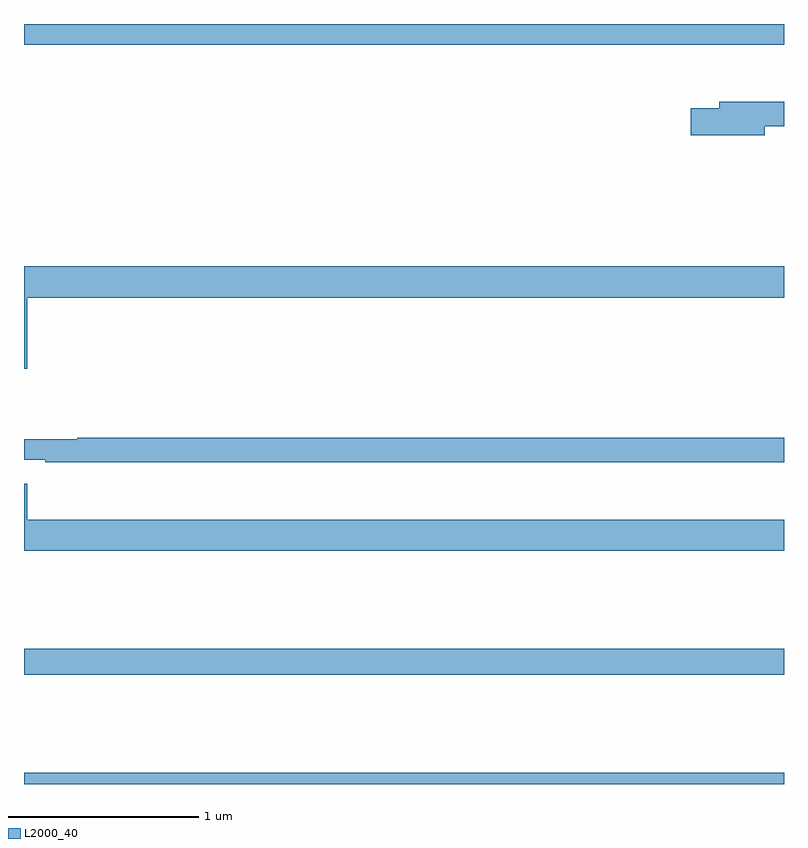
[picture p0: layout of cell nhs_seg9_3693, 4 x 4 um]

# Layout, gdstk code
import gdstk
lib = gdstk.Library(unit=1e-6, precision=1e-09)
def R(c, l, rs):  # rectangles x0, y0, x1, y1
    for r in rs: c.add(gdstk.rectangle(r[:2], r[2:], *l))
def P(c, l, *ps):  # polygons
    for p in ps: c.add(gdstk.Polygon(p, *l))
L2000_40 = (2000, 40)

nhs_seg9_3693 = lib.new_cell('nhs_seg9_3693')
R(nhs_seg9_3693, L2000_40, [(321,1220.5,325,1220.56), (321,1221.076,325,1221.212), (321,1224.392,325,1224.5)])
P(nhs_seg9_3693, L2000_40, [(324.898,1223.962),(325,1223.962),(325,1224.091),(324.659,1224.091),(324.659,1224.057),(324.51,1224.057),(324.51,1223.915),(324.898,1223.915)],
  [(321.016,1223.06),(325,1223.06),(325,1223.224),(321,1223.224),(321,1222.686),(321.016,1222.686)],
  [(325,1222.322),(321.281,1222.322),(321.281,1222.315),(321,1222.315),(321,1222.206),(321.112,1222.206),(321.112,1222.194),(325,1222.194)],
  [(325,1221.892),(321.016,1221.892),(321.016,1222.081),(321,1222.081),(321,1221.728),(325,1221.728)])

lib.write_gds('nhs_seg9_3693.gds')
